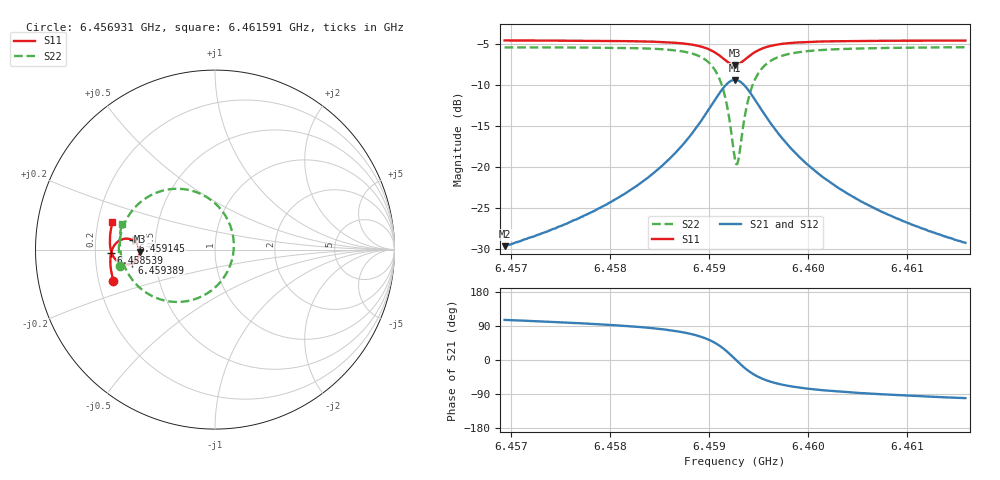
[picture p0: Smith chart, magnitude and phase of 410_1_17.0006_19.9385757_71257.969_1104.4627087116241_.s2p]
#  HZ  S  RI  R  50.00
! Rohde & Schwarz Vector Network Analyzer
! Rohde-Schwarz,ZNB20-2Port,1311601062101988,3.16
! Created: UTC 3/20/2024, 11:10:24 PM
! freq[Hz]  re:S11  im:S11  re:S21  im:S21  re:S12  im:S12  re:S22  im:S22
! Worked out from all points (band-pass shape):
!   401 points, 6.456931 GHz to 6.461591 GHz, reference 50 ohm
!   highest |S21| = -9.35 dB at 6.459261 GHz (marker M1); lowest = -29.6 dB at 6.456931 GHz (marker M2)
!   |S21| within 3 dB of the highest: 6.459028 GHz to 6.459494 GHz (465.8 kHz wide, 0.00721 % of centre)
!   lowest |S11| = -7.5 dB at 6.459261 GHz (marker M3), VSWR 2.45, Z = 20.4 - j0.554 ohm
!   |S11| at or under -10 dB: nowhere
!   |S22| runs from -19.6 to -5.4 dB; largest |S21 - S12| = 0.013
!   S11 on the Smith chart (normalised r, x): 6.456931 GHz: 0.26, -0.14; 6.458539 GHz: 0.27, -0.01; 6.459145 GHz: 0.37, +0.05; 6.459389 GHz: 0.37, -0.07; 6.461591 GHz: 0.26, +0.12
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6.4569312e9  -0.5656 -0.1757  -0.00903 0.0318  -0.00733 0.0319  -0.5298 -0.0888
6.4577117e9  -0.5802 -0.1078  -0.0059 0.0496  -0.00326 0.049  -0.5362 0.00149
6.4581544e9  -0.5834 -0.0636  7.48e-05 0.0695  0.00332 0.0683  -0.5282 0.0709
6.4584922e9  -0.5799 -0.0234  0.0134 0.0974  0.0174 0.0947  -0.5042 0.1461
6.4585388e9  -0.5785 -0.0172  0.0167 0.1029  0.0209 0.0998  -0.4981 0.1595
6.4587485e9  -0.5664 0.0148  0.0424 0.1342  0.0466 0.1294  -0.45 0.2305
6.4589e9  -0.5457 0.041  0.0845 0.1643  0.0878 0.1578  -0.3726 0.2945
6.4590514e9  -0.4999 0.0608  0.1751 0.1833  0.1763 0.1761  -0.2068 0.3389
6.4591446e9  -0.4558 0.0509  0.2642 0.1529  0.2645 0.147  -0.0422 0.2901
6.4591912e9  -0.4348 0.0323  0.3075 0.1107  0.3088 0.1054  0.04 0.2151
6.4592611e9  -0.4202 -0.0112  0.3405 0.0151  0.3441 0.00803  0.1046 0.0378
6.4592844e9  -0.4219 -0.027  0.3384 -0.0198  0.3423 -0.0282  0.1007 -0.0282
6.459296e9  -0.424 -0.0345  0.3351 -0.0369  0.3387 -0.0459  0.0938 -0.0602
6.4593426e9  -0.4395 -0.0602  0.3069 -0.0961  0.3089 -0.1077  0.0372 -0.172
6.4593892e9  -0.4612 -0.0762  0.2656 -0.1366  0.2646 -0.1496  -0.0463 -0.2459
6.4594824e9  -0.5041 -0.0828  0.1819 -0.1677  0.1758 -0.1788  -0.2125 -0.2917
6.4596339e9  -0.5474 -0.0623  0.0953 -0.1541  0.087 -0.1602  -0.3777 -0.2435
6.459797e9  -0.5687 -0.0346  0.051 -0.1267  0.0434 -0.1295  -0.4575 -0.1725
6.4600416e9  -0.5812 0.000845  0.0222 -0.0957  0.0164 -0.0963  -0.5049 -0.0912
6.4603911e9  -0.5856 0.042  0.0063 -0.0693  0.00233 -0.0689  -0.5262 -0.0126
6.4608221e9  -0.5835 0.0851  -0.00123 -0.0511  -0.00416 -0.0503  -0.5304 0.0553
6.461591e9  -0.5711 0.1529  -0.00638 -0.0341  -0.00806 -0.0332  -0.519 0.1451
